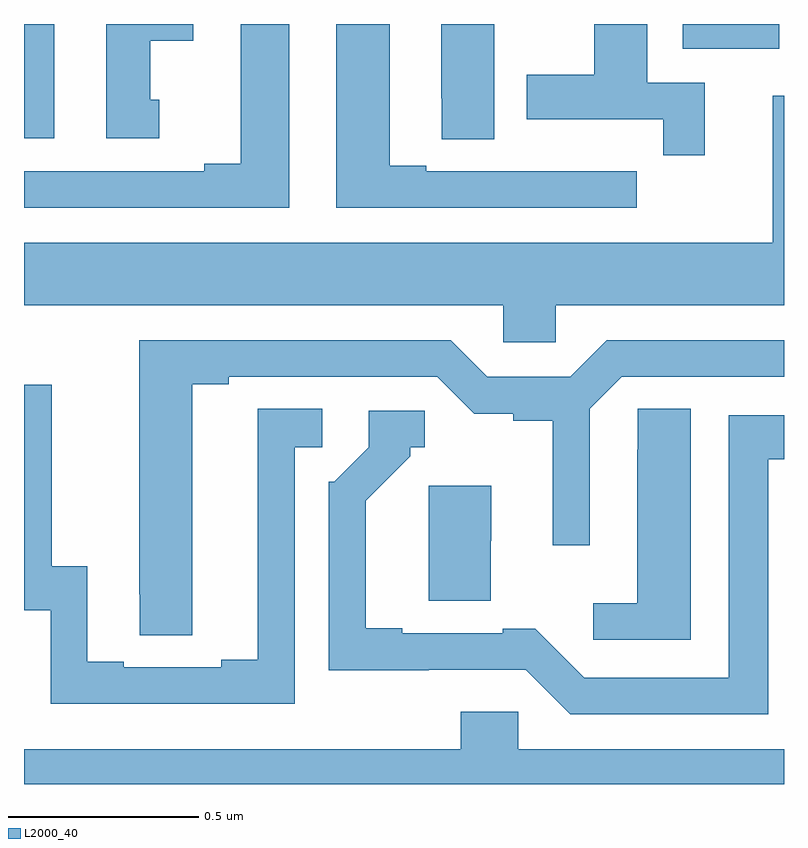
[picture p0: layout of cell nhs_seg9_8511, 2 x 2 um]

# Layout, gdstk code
import gdstk
lib = gdstk.Library(unit=1e-6, precision=1e-09)
def R(c, l, rs):  # rectangles x0, y0, x1, y1
    for r in rs: c.add(gdstk.rectangle(r[:2], r[2:], *l))
def P(c, l, *ps):  # polygons
    for p in ps: c.add(gdstk.Polygon(p, *l))
L2000_40 = (2000, 40)

nhs_seg9_8511 = lib.new_cell('nhs_seg9_8511')
R(nhs_seg9_8511, L2000_40, [(218,1190.199,218.08,1190.5), (219.734,1190.435,219.988,1190.5)])
P(nhs_seg9_8511, L2000_40, [(218.356,1190.301),(218.332,1190.301),(218.332,1190.456),(218.446,1190.456),(218.446,1190.5),(218.216,1190.5),(218.216,1190.199),(218.356,1190.199)],
  [(219.238,1190.5),(219.098,1190.5),(219.098,1190.305),(219.099,1190.305),(219.099,1190.197),(219.238,1190.197)],
  [(219.613,1190.112),(219.5,1190.112),(219.5,1190.113),(219.334,1190.113),(219.334,1190.112),(219.058,1190.112),(219.058,1190.127),(218.962,1190.127),(218.962,1190.5),(218.822,1190.5),(218.822,1190.016),(219.613,1190.016)],
  [(219.791,1190.346),(219.64,1190.346),(219.64,1190.5),(219.5,1190.5),(219.5,1190.367),(219.323,1190.367),(219.323,1190.25),(219.682,1190.25),(219.682,1190.154),(219.791,1190.154)],
  [(218.698,1190.5),(218.57,1190.5),(218.57,1190.132),(218.474,1190.132),(218.474,1190.112),(218,1190.112),(218,1190.016),(218.698,1190.016)],
  [(219.399,1189.76),(220,1189.76),(220,1190.311),(219.971,1190.311),(219.971,1189.924),(218,1189.924),(218,1189.76),(219.261,1189.76),(219.261,1189.662),(219.399,1189.662)],
  [(218.443,1189.552),(218.539,1189.552),(218.539,1189.572),(219.087,1189.572),(219.185,1189.475),(219.288,1189.475),(219.288,1189.456),(219.392,1189.456),(219.392,1189.128),(219.489,1189.128),(219.489,1189.488),(219.573,1189.572),(220,1189.572),(220,1189.668),(219.533,1189.668),(219.437,1189.572),(219.219,1189.572),(219.123,1189.668),(218.303,1189.668),(218.303,1189),(218.304,1189),(218.304,1188.892),(218.443,1188.892)],
  [(218.712,1189.386),(218.785,1189.386),(218.785,1189.487),(218.615,1189.487),(218.615,1188.827),(218.519,1188.827),(218.519,1188.807),(218.263,1188.807),(218.263,1188.822),(218.167,1188.822),(218.167,1189.073),(218.073,1189.073),(218.073,1189.551),(218,1189.551),(218,1188.957),(218.07,1188.957),(218.07,1188.711),(218.712,1188.711)],
  [(219.754,1189.487),(219.615,1189.487),(219.615,1189.379),(219.614,1189.379),(219.614,1188.976),(219.498,1188.976),(219.498,1188.879),(219.754,1188.879)],
  [(219.958,1189.354),(220,1189.354),(220,1189.47),(219.854,1189.47),(219.854,1188.78),(219.474,1188.78),(219.346,1188.908),(219.26,1188.908),(219.26,1188.897),(218.995,1188.897),(218.995,1188.91),(218.899,1188.91),(218.899,1189.246),(219.016,1189.363),(219.016,1189.386),(219.055,1189.386),(219.055,1189.482),(218.907,1189.482),(218.907,1189.386),(218.817,1189.296),(218.802,1189.296),(218.802,1188.8),(219.065,1188.8),(219.065,1188.801),(219.321,1188.801),(219.438,1188.684),(219.958,1188.684)],
  [(219.228,1189.14),(219.229,1189.14),(219.229,1189.285),(219.065,1189.285),(219.065,1188.982),(219.228,1188.982)],
  [(220,1188.592),(219.3,1188.592),(219.3,1188.69),(219.149,1188.69),(219.149,1188.592),(218,1188.592),(218,1188.5),(220,1188.5)])

lib.write_gds('nhs_seg9_8511.gds')
